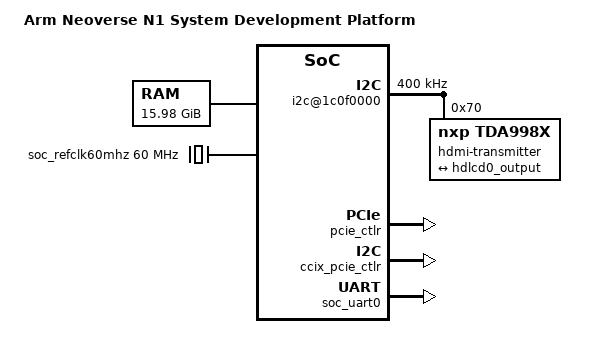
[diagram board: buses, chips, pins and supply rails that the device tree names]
// SPDX-License-Identifier: (GPL-2.0 or BSD-3-Clause)
/*
 * Copyright (c) 2019-2020, Arm Limited.
 */

/dts-v1/;

#include "n1sdp.dtsi"

/ {
	model = "Arm Neoverse N1 System Development Platform";
	compatible = "arm,neoverse-n1-sdp", "arm,neoverse-n1-soc";

	aliases {
		serial0 = &soc_uart0;
	};

	chosen {
		stdout-path = "soc_uart0:115200n8";
	};

	/* This configuration assumes that standard setup with two DIMM modules.
	 * In the first 2GB of DRAM bank the top 16MB are reserved by firmware as secure memory.
	 * This configuration assumes 16GB of total DRAM being populated.
	 */
	memory@80000000 {
		device_type = "memory";
		reg = <0x00000000 0x80000000 0x0 0x7f000000>,
			<0x00000080 0x80000000 0x3 0x80000000>;
		numa-node-id = <0>;
	};

	soc_refclk60mhz: refclk60mhz {
		compatible = "fixed-clock";
		#clock-cells = <0>;
		clock-frequency = <60000000>;
		clock-output-names = "iofpga_clk";
	};

	soc_hdlcdclk:  hdlcdclk {
		compatible = "fixed-clock";
		#clock-cells = <0>;
		clock-frequency = <23750000>;
		clock-output-names = "hdlcdclk";
	};

	hdlcd: hdlcd@1c050000 {
		compatible = "arm,hdlcd";
		reg = <0 0x1c050000 0 0x1000>;
		interrupts = <GIC_SPI 97 IRQ_TYPE_LEVEL_HIGH>;
		clocks = <&soc_hdlcdclk>;
		clock-names = "pxlclk";

		port {
			hdlcd0_output: endpoint {
				remote-endpoint = <&tda998x_0_input>;
			};
		};
	};

	i2c@1c0f0000 {
		compatible = "arm,versatile-i2c";
		reg = <0x0 0x1c0f0000 0x0 0x1000>;
		#address-cells = <1>;
		#size-cells = <0>;
		clock-frequency = <400000>;
		i2c-sda-hold-time-ns = <500>;
		clocks = <&soc_refclk60mhz>;

		hdmi-transmitter@70 {
			compatible = "nxp,tda998x";
			reg = <0x70>;
			port {
				tda998x_0_input: endpoint {
					remote-endpoint = <&hdlcd0_output>;
				};
			};
		};
	};
};

&pcie_ctlr {
	status = "okay";
};

&ccix_pcie_ctlr {
	status = "okay";
};

&soc_uart0 {
	status = "okay";
};
